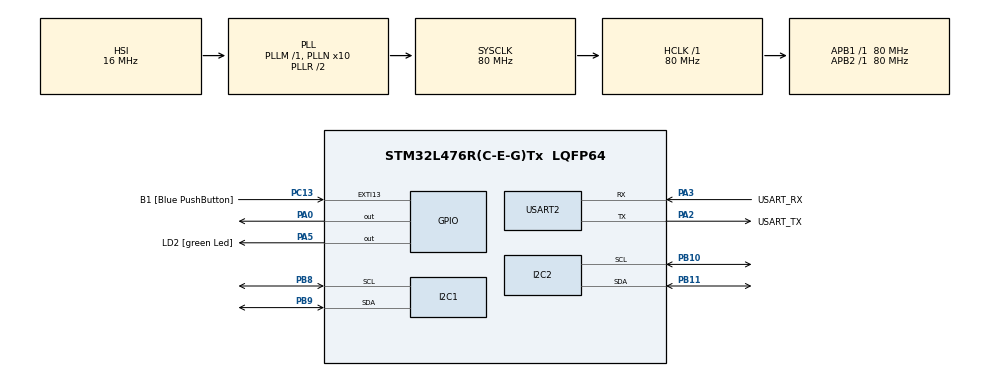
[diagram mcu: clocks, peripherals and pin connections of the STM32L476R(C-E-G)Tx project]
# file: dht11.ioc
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I2C1.Timing=0x10D19CE4
I2C2.Timing=0x10D19CE4
Mcu.Family=STM32L4
Mcu.Name=STM32L476R(C-E-G)Tx
Mcu.Package=LQFP64
NVIC.PriorityGroup=NVIC_PRIORITYGROUP_4
PA0.Signal=GPIO_Output
PA13\ (JTMS-SWDIO).GPIO_Label=TMS
PA13\ (JTMS-SWDIO).Mode=Serial_Wire
PA13\ (JTMS-SWDIO).Signal=SYS_JTMS-SWDIO
PA14\ (JTCK-SWCLK).GPIO_Label=TCK
PA14\ (JTCK-SWCLK).Mode=Serial_Wire
PA14\ (JTCK-SWCLK).Signal=SYS_JTCK-SWCLK
PA2.GPIO_Label=USART_TX
PA2.GPIO_Mode=GPIO_MODE_AF_PP
PA2.GPIO_PuPd=GPIO_NOPULL
PA2.GPIO_Speed=GPIO_SPEED_FREQ_VERY_HIGH
PA2.Mode=Asynchronous
PA2.Signal=USART2_TX
PA3.GPIO_Label=USART_RX
PA3.GPIO_Mode=GPIO_MODE_AF_PP
PA3.GPIO_PuPd=GPIO_NOPULL
PA3.GPIO_Speed=GPIO_SPEED_FREQ_VERY_HIGH
PA3.Mode=Asynchronous
PA3.Signal=USART2_RX
PA5.GPIO_Label=LD2 [green Led]
PA5.GPIO_ModeDefaultOutputPP=GPIO_MODE_OUTPUT_PP
PA5.GPIO_PuPd=GPIO_NOPULL
PA5.GPIO_Speed=GPIO_SPEED_FREQ_LOW
PA5.Signal=GPIO_Output
PB10.Mode=I2C
PB10.Signal=I2C2_SCL
PB11.Mode=I2C
PB11.Signal=I2C2_SDA
PB3\ (JTDO-TRACESWO).GPIO_Label=SWO
PB3\ (JTDO-TRACESWO).Signal=SYS_JTDO-SWO
PB8.Mode=I2C
PB8.Signal=I2C1_SCL
PB9.Mode=I2C
PB9.Signal=I2C1_SDA
PC13.GPIO_Label=B1 [Blue PushButton]
PC13.GPIO_ModeDefaultEXTI=GPIO_MODE_IT_FALLING
PC13.GPIO_PuPd=GPIO_NOPULL
PC13.Signal=GPXTI13
PC14-OSC32_IN\ (PC14).Mode=LSE-External-Oscillator
PC14-OSC32_IN\ (PC14).Signal=RCC_OSC32_IN
PC15-OSC32_OUT\ (PC15).Mode=LSE-External-Oscillator
PC15-OSC32_OUT\ (PC15).Signal=RCC_OSC32_OUT
PH0-OSC_IN\ (PH0).Signal=RCC_OSC_IN
PH1-OSC_OUT\ (PH1).Signal=RCC_OSC_OUT
ProjectManager.HeapSize=0x200
ProjectManager.StackSize=0x400
ProjectManager.TargetToolchain=STM32CubeIDE
RCC.ADCFreq_Value=64000000
RCC.AHBFreq_Value=80000000
RCC.APB1Freq_Value=80000000
RCC.APB1TimFreq_Value=80000000
RCC.APB2Freq_Value=80000000
RCC.APB2TimFreq_Value=80000000
RCC.CortexFreq_Value=80000000
RCC.HCLKFreq_Value=80000000
RCC.HSE_VALUE=8000000
RCC.HSI_VALUE=16000000
RCC.MSI_VALUE=4000000
RCC.PLLN=10
RCC.PLLSourceVirtual=RCC_PLLSOURCE_HSI
RCC.PREFETCH_ENABLE=1
RCC.SYSCLKFreq_VALUE=80000000
RCC.SYSCLKSource=RCC_SYSCLKSOURCE_PLLCLK
RCC.USBFreq_Value=64000000
RCC.VCOOutputFreq_Value=160000000
TIM1.Period=0xffff-1
TIM1.Prescaler=80-1
USART2.VirtualMode-Asynchronous=VM_ASYNC
VP_TIM15_VS_ClockSourceINT.Mode=Internal
VP_TIM1_VS_ClockSourceINT.Mode=Internal
board=NUCLEO-L476RG

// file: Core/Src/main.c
/* USER CODE BEGIN Header */
/**
  ******************************************************************************
  * @file           : main.c
  * @brief          : Main program body
  ******************************************************************************
  * @attention
  *
  * Copyright (c) 2025 STMicroelectronics.
  * All rights reserved.
  *
  * This software is licensed under terms that can be found in the LICENSE file
  * in the root directory of this software component.
  * If no LICENSE file comes with this software, it is provided AS-IS.
  *
  ******************************************************************************
  */
/* USER CODE END Header */
#include "main.h"
#include "i2c.h"
#include "tim.h"
#include "usart.h"
#include "gpio.h"
#include "lcd.h"
#include <stdio.h>

void SystemClock_Config(void);

/* USER CODE BEGIN 0 */
#define DHT11_PORT GPIOA
#define DHT11_PIN GPIO_PIN_0

void delay (uint16_t time)
{
	/* change your code here for the delay in microseconds */
	__HAL_TIM_SET_COUNTER(&htim1, 0);
	while ((__HAL_TIM_GET_COUNTER(&htim1))<time);
}

void Display_Temp (float Temp)
{
	char str[20] = {0};
	lcd_position(&hi2c1, 0, 0); // Positionner le curseur du LCD à la ligne 0, colonne 0

	sprintf (str, "TEMP:- %.2f ", Temp);
	lcd_print(&hi2c1, str); // Afficher la température sur l'écran LCD
}

void Display_Rh (float Rh)
{
	char str[20] = {0};
	lcd_position(&hi2c1, 0, 1); // Positionner le curseur du LCD à la ligne 1, colonne 0

	sprintf (str, "RH:- %.2f ", Rh);
	lcd_print(&hi2c1, str); // Afficher l'humidité sur l'écran LCD
}

uint8_t Rh_byte1, Rh_byte2, Temp_byte1, Temp_byte2;
uint16_t SUM, RH, TEMP;

float Temperature = 0;
float Humidity = 0;
uint8_t Presence = 0;

void Set_Pin_Output (GPIO_TypeDef *GPIOx, uint16_t GPIO_Pin)
{
	GPIO_InitTypeDef GPIO_InitStruct = {0};
	GPIO_InitStruct.Pin = GPIO_Pin;
	GPIO_InitStruct.Mode = GPIO_MODE_OUTPUT_PP;
	GPIO_InitStruct.Speed = GPIO_SPEED_FREQ_LOW;
	HAL_GPIO_Init(GPIOx, &GPIO_InitStruct);
}

void Set_Pin_Input (GPIO_TypeDef *GPIOx, uint16_t GPIO_Pin)
{
	GPIO_InitTypeDef GPIO_InitStruct = {0};
	GPIO_InitStruct.Pin = GPIO_Pin;
	GPIO_InitStruct.Mode = GPIO_MODE_INPUT;
	GPIO_InitStruct.Pull = GPIO_PULLUP;
	HAL_GPIO_Init(GPIOx, &GPIO_InitStruct);
}

void DHT11_Start (void)
{
	Set_Pin_Output (DHT11_PORT, DHT11_PIN);  // set the pin as output
	HAL_GPIO_WritePin (DHT11_PORT, DHT11_PIN, 0);   // pull the pin low
	delay (18000);   // wait for 18ms
    HAL_GPIO_WritePin (DHT11_PORT, DHT11_PIN, 1);   // pull the pin high
	delay (20);   // wait for 20us
	Set_Pin_Input(DHT11_PORT, DHT11_PIN);    // set as input
}

uint8_t DHT11_Check_Response(void)
{
    uint8_t Response = 0;
    delay(40); // Attendre 40µs

    if (!(HAL_GPIO_ReadPin(DHT11_PORT, DHT11_PIN))) // Vérifier si la ligne est LOW
    {
        delay(80); // Attendre encore 80µs
        if ((HAL_GPIO_ReadPin(DHT11_PORT, DHT11_PIN))) // Vérifier si la ligne est HIGH
            Response = 1; // Réponse correcte du DHT22
        else
            Response = 0; // Pas de réponse
    }

    while ((HAL_GPIO_ReadPin(DHT11_PORT, DHT11_PIN))); // Attendre que la ligne repasse à LOW
    return Response; // Retourner l'état de la réponse
}

uint8_t DHT11_Read (void)
{
	uint8_t i,j;
	for (j=0;j<8;j++)
	{
		while (!(HAL_GPIO_ReadPin (DHT11_PORT, DHT11_PIN)));   // wait for the pin to go high
		delay (40);   // wait for 40 us
		if (!(HAL_GPIO_ReadPin (DHT11_PORT, DHT11_PIN)))   // if the pin is low
		{
			i&= ~(1<<(7-j));   // write 0
		}
		else i|= (1<<(7-j));  // if the pin is high, write 1
		while ((HAL_GPIO_ReadPin (DHT11_PORT, DHT11_PIN)));  // wait for the pin to go low
	}
	return i;
}

/* USER CODE END 0 */

int main(void)
{

  /* MCU Configuration--------------------------------------------------------*/

  /* Reset of all peripherals, Initializes the Flash interface and the Systick. */
  HAL_Init();

  /* Configure the system clock */
  SystemClock_Config();

  /* Initialize all configured peripherals */
  MX_GPIO_Init();
  MX_USART2_UART_Init();
  MX_TIM1_Init();
  MX_TIM15_Init();
  MX_I2C2_Init();
  MX_I2C1_Init();
  /* USER CODE BEGIN 2 */
  HAL_TIM_Base_Start(&htim1);

  rgb_lcd lcd_data;
    lcd_init(&hi2c1, &lcd_data); // Initialisation du LCD
    clearlcd();
    lcd_position(&hi2c1, 0, 0);
    lcd_print(&hi2c1, "chargement...");
    HAL_Delay(2000);
    clearlcd();
	  DHT11_Start();

  /* USER CODE END 2 */

  /* Infinite loop */
  while (1)
  {

    /* USER CODE BEGIN 3 */

	  	  Display_Temp(Temperature);
	  	  Display_Rh(Humidity);

	  	DHT11_Start();
	  	  Presence = DHT11_Check_Response();
	  	  Rh_byte1 = DHT11_Read ();
	  	  Rh_byte2 = DHT11_Read ();
	  	  Temp_byte1 = DHT11_Read ();
	  	  Temp_byte2 = DHT11_Read ();
	  	  SUM = DHT11_Read();

	  	  TEMP = Temp_byte1;
	  	  RH = Rh_byte1;
	  	  Temperature = (float) TEMP;
	  	  Humidity = (float) RH;

		  //char str[20]; // Déclaration d'un buffer pour stocker les chaînes de caractères à afficher

		  /*sprintf(str, "Temp. : %.2f C", Temperature); // Formater la température avec une seule décimale et l'ajouter dans la chaîne 'str'
		  lcd_position(&hi2c1, 0, 0); // Positionner le curseur du LCD à la ligne 0, colonne 0
		  lcd_print(&hi2c1, str); // Afficher la température sur l'écran LCD

		  sprintf(str, "Hum. : %.2f %%", Humidity); // Formater l'humidité avec une seule décimale et l'ajouter dans la chaîne 'str'
		  lcd_position(&hi2c1, 0, 1); // Positionner le curseur du LCD à la ligne 1, colonne 0
		  lcd_print(&hi2c1, str); // Afficher l'humidité sur l'écran LCD*/
	  	  HAL_Delay(2000);
	  	DHT11_Start();

	    }

  /* USER CODE END 3 */
}

void SystemClock_Config(void)
{
  RCC_OscInitTypeDef RCC_OscInitStruct = {0};
  RCC_ClkInitTypeDef RCC_ClkInitStruct = {0};

  /** Configure the main internal regulator output voltage
  */
  if (HAL_PWREx_ControlVoltageScaling(PWR_REGULATOR_VOLTAGE_SCALE1) != HAL_OK)
  {
    Error_Handler();
  }

  /** Initializes the RCC Oscillators according to the specified parameters
  * in the RCC_OscInitTypeDef structure.
  */
  RCC_OscInitStruct.OscillatorType = RCC_OSCILLATORTYPE_HSI;
  RCC_OscInitStruct.HSIState = RCC_HSI_ON;
  RCC_OscInitStruct.HSICalibrationValue = RCC_HSICALIBRATION_DEFAULT;
  RCC_OscInitStruct.PLL.PLLState = RCC_PLL_ON;
  RCC_OscInitStruct.PLL.PLLSource = RCC_PLLSOURCE_HSI;
  RCC_OscInitStruct.PLL.PLLM = 1;
  RCC_OscInitStruct.PLL.PLLN = 10;
  RCC_OscInitStruct.PLL.PLLP = RCC_PLLP_DIV7;
  RCC_OscInitStruct.PLL.PLLQ = RCC_PLLQ_DIV2;
  RCC_OscInitStruct.PLL.PLLR = RCC_PLLR_DIV2;
  if (HAL_RCC_OscConfig(&RCC_OscInitStruct) != HAL_OK)
  {
    Error_Handler();
  }

  /** Initializes the CPU, AHB and APB buses clocks
  */
  RCC_ClkInitStruct.ClockType = RCC_CLOCKTYPE_HCLK|RCC_CLOCKTYPE_SYSCLK
                              |RCC_CLOCKTYPE_PCLK1|RCC_CLOCKTYPE_PCLK2;
  RCC_ClkInitStruct.SYSCLKSource = RCC_SYSCLKSOURCE_PLLCLK;
  RCC_ClkInitStruct.AHBCLKDivider = RCC_SYSCLK_DIV1;
  RCC_ClkInitStruct.APB1CLKDivider = RCC_HCLK_DIV1;
  RCC_ClkInitStruct.APB2CLKDivider = RCC_HCLK_DIV1;

  if (HAL_RCC_ClockConfig(&RCC_ClkInitStruct, FLASH_LATENCY_4) != HAL_OK)
  {
    Error_Handler();
  }
}

void Error_Handler(void)
{
  __disable_irq();
  while (1)
  {
  }
}
